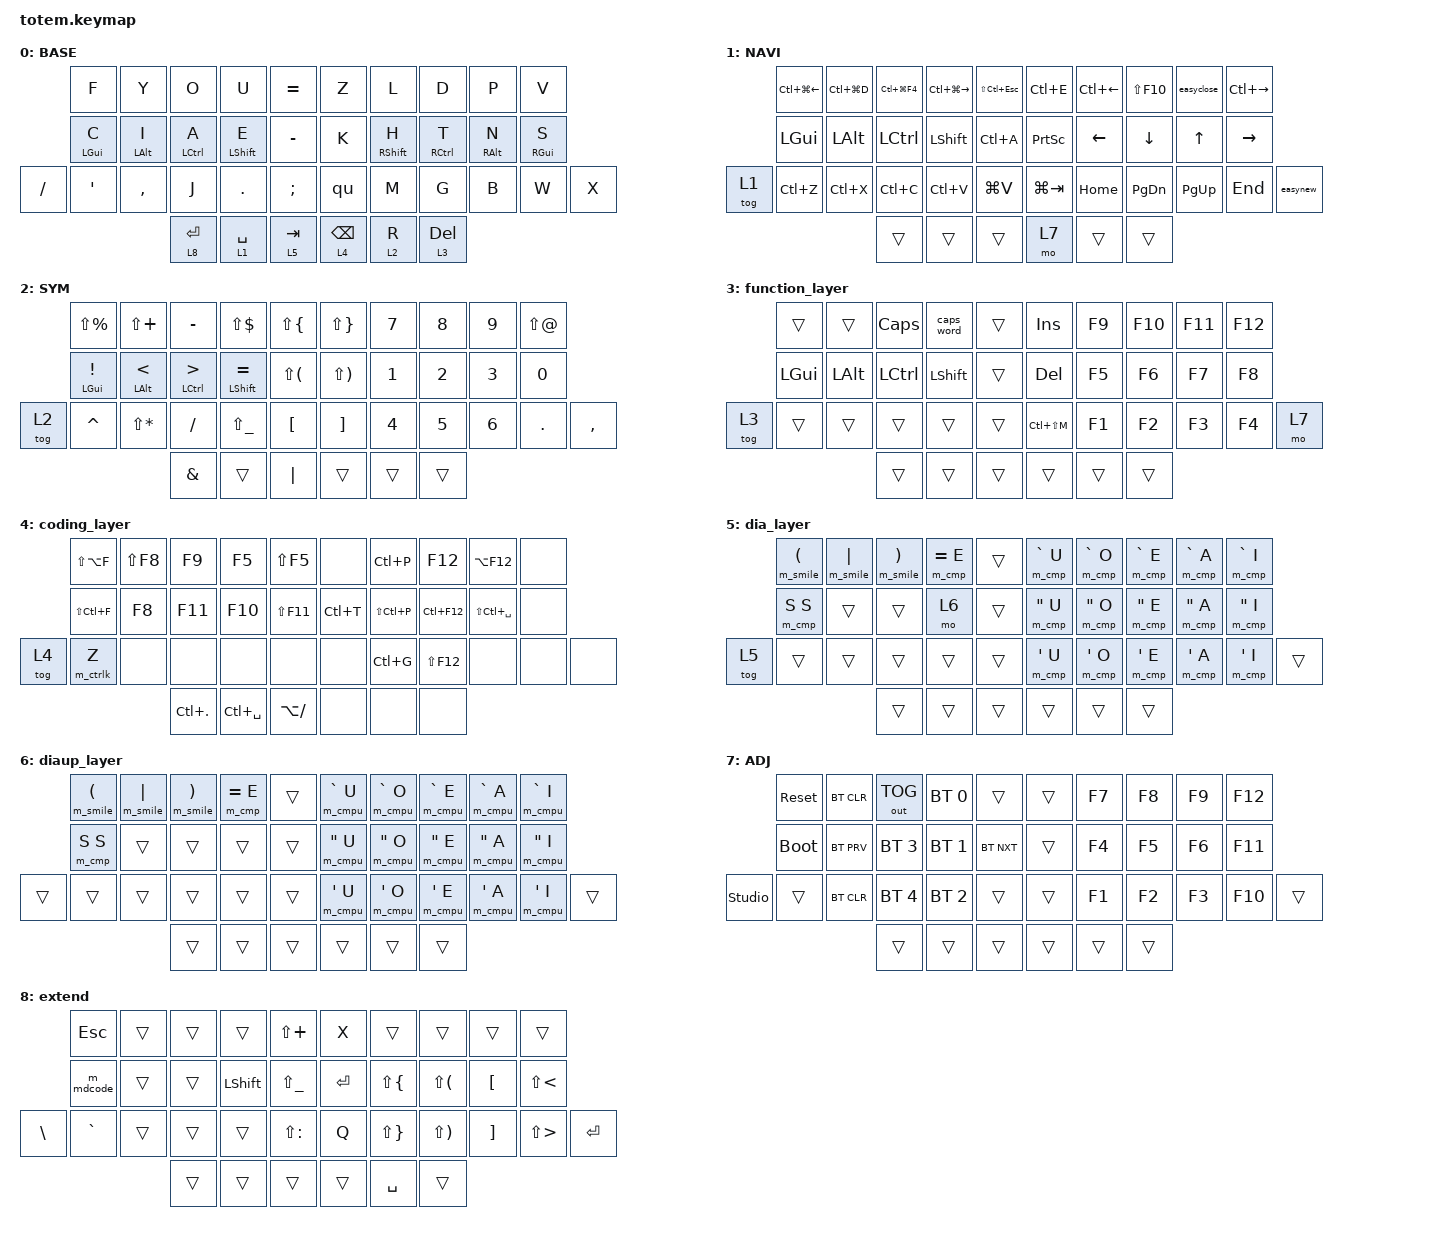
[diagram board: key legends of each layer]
//
//                                                        ▀▀▀▀▀     ▀▀▀▀▀          ▀▀█▀▀
//                                                        ▄▀▀▀▄  ▄  ▄▀▀▀▄  ▄  ▄▀▀▀▄  █  ▄▀▀▀▄
//                                                        █   █  █  █   █  █  █   █  █  █   █
//                                                         ▀▀▀   █   ▀▀▀   █   ▀▀▀   ▀   ▀▀▀
//                                                               █      ▄▄▄█▄▄▄    █   █  
//                                                               ▀      █  █  █     █▄█
//                                                             ▀▀▀▀▀    █  █  █      ▀
//                                                                      ▀  ▀  ▀
//
// ▄▄▄▄▄▄▄▄▄▄▄▄▄▄▄▄▄▄▄▄▄▄▄▄▄▄▄▄▄▄▄▄▄▄▄▄▄▄▄▄▄▄▄▄▄▄▄▄▄▄▄▄▄▄▄▄▄▄▄▄▄▄▄▄▄▄▄▄▄▄▄▄▄▄▄▄▄▄▄▄▄▄▄▄▄▄▄▄▄▄▄▄▄▄▄▄▄▄▄▄▄▄▄▄▄▄▄▄▄▄▄▄▄▄▄▄▄▄▄▄▄▄▄▄▄▄▄▄▄▄▄▄▄▄▄▄▄▄▄▄▄▄▄▄▄▄▄▄▄

#include <behaviors.dtsi>
#include <dt-bindings/zmk/bt.h>
#include <dt-bindings/zmk/keys.h>
#include <dt-bindings/zmk/outputs.h>

#define BASE 0
#define NAV  1
#define SYM  2
#define ADJ  3
#define TVP1 4
#define TVP2 5

&mt {
    quick-tap-ms = <100>;
    global-quick-tap;
    flavor = "tap-preferred";
    tapping-term-ms = <170>;
};

/ {
    combos {
        compatible = "zmk,combos";

        c_esc {
            timeout-ms = <50>;
            key-positions = <33 32>;
            bindings = <&kp ESC>;
        };

        c_caps {
            bindings = <&caps_word>;
            key-positions = <13 16>;
            layers = <0>;
        };

        c_2zero {
            bindings = <&m_2zero>;
            key-positions = <19 18>;
            layers = <2>;
        };

        c_3zero {
            bindings = <&zero3mod>;
            key-positions = <19 18 17>;
            layers = <2>;
        };

        c_lambda {
            bindings = <&m_lambda>;
            key-positions = <13 12>;
            layers = <2>;
        };

        c_lambdablk {
            bindings = <&m_lambdablk>;
            key-positions = <13 12 11>;
            layers = <2>;
        };

        c_quotes {
            bindings = <&kp DQT>;
            key-positions = <28 29>;
            layers = <0>;
        };

        c_exclaim {
            bindings = <&kp EXCL>;
            key-positions = <27 28>;
            layers = <0>;
        };

        c_question {
            bindings = <&kp QMARK>;
            key-positions = <24 23>;
            layers = <0>;
        };

        c_colon {
            bindings = <&kp COLON>;
            key-positions = <23 22>;
            layers = <0>;
        };

        c_fij {
            bindings = <&m_fij>;
            key-positions = <0 1>;
            layers = <0>;
        };

        c_jo {
            bindings = <&m_jo>;
            key-positions = <1 2>;
            layers = <0>;
        };

        c_jou {
            bindings = <&m_jou>;
            key-positions = <1 2 3>;
            layers = <0>;
            timeout-ms = <0>;
        };

        c_ja {
            bindings = <&m_ja>;
            key-positions = <23 12>;
            layers = <0>;
        };

        c_grave {
            bindings = <&kp GRAVE>;
            key-positions = <21 22>;
            layers = <0 2>;
        };

        c_bsl {
            bindings = <&kp BSLH>;
            key-positions = <20 10>;
            layers = <0 2>;
        };
    };

    macros {
        gif: gif {
            label = "giphy";
            compatible = "zmk,behavior-macro";
            #binding-cells = <0>;
            bindings =
                <&macro_press>,
                <&kp LSHFT>,
                <&macro_tap>,
                <&kp N2>,
                <&macro_release>,
                <&kp LSHFT>,
                <&macro_tap>,
                <&kp G &kp I &kp F>;
        };

        m_qu: m_qu {
            compatible = "zmk,behavior-macro";
            #binding-cells = <0>;
            bindings =
                <&kp Q>,
                <&macro_release>,
                <&kp LSHFT &kp RSHFT>,
                <&macro_tap>,
                <&kp U>;

            label = "M_QU";
            wait-ms = <1>;
            tap-ms = <1>;
        };

        m_cmp: m_cmp {
            compatible = "zmk,behavior-macro-two-param";
            #binding-cells = <2>;
            bindings = <&kp RALT &macro_param_1to1 &kp MACRO_PLACEHOLDER &macro_param_2to1 &kp MACRO_PLACEHOLDER>;
            label = "M_CMP";
            wait-ms = <1>;
            tap-ms = <1>;
        };

        m_cmpu: m_cmpu {
            compatible = "zmk,behavior-macro-two-param";
            #binding-cells = <2>;
            bindings =
                <&kp RALT &macro_param_1to1 &kp MACRO_PLACEHOLDER>,
                <&macro_press>,
                <&kp LSHFT>,
                <&macro_tap>,
                <&macro_param_2to1 &kp MACRO_PLACEHOLDER>,
                <&macro_release>,
                <&kp LSHFT>;

            label = "M_CMPU";
            wait-ms = <1>;
            tap-ms = <1>;
        };

        m_lambda: m_lambda {
            compatible = "zmk,behavior-macro";
            #binding-cells = <0>;
            bindings = <&kp SPACE &kp EQUAL &kp GT &kp SPACE>;
            label = "M_LAMBDA";
            wait-ms = <1>;
            tap-ms = <1>;
        };

        m_lambdablk: m_lambdablk {
            compatible = "zmk,behavior-macro";
            #binding-cells = <0>;
            bindings = <&m_lambda &kp LBRC &kp ENTER>;
            label = "M_LAMBDABLK";
            wait-ms = <1>;
            tap-ms = <1>;
        };

        m_ctrlk: m_ctrlk {
            compatible = "zmk,behavior-macro-one-param";
            #binding-cells = <1>;
            bindings = <&kp LC(K) &macro_param_1to1 &kp MACRO_PLACEHOLDER>;
            label = "M_CTRLK";
        };

        m_3zero: m_3zero {
            compatible = "zmk,behavior-macro";
            #binding-cells = <0>;
            bindings = <&kp N0 &kp N0 &kp N0>;
            label = "M_3ZERO";
            wait-ms = <1>;
            tap-ms = <1>;
        };

        m_u3zero: m_u3zero {
            compatible = "zmk,behavior-macro";
            #binding-cells = <0>;
            bindings = <&kp UNDERSCORE &kp N0 &kp N0 &kp N0>;
            label = "M_U3ZERO";
            wait-ms = <1>;
            tap-ms = <1>;
        };

        m_2zero: m_2zero {
            compatible = "zmk,behavior-macro";
            #binding-cells = <0>;
            bindings = <&kp N0 &kp N0>;
            label = "M_2ZERO";
            tap-ms = <1>;
            wait-ms = <1>;
        };

        m_smile: m_smile {
            compatible = "zmk,behavior-macro-one-param";
            #binding-cells = <1>;
            bindings = <&kp COLON &kp MINUS &macro_param_1to1 &kp MACRO_PLACEHOLDER>;
            label = "M_SMILE";
            wait-ms = <1>;
            tap-ms = <1>;
        };

        m_jo: m_jo {
            compatible = "zmk,behavior-macro";
            #binding-cells = <0>;
            bindings =
                <&kp J>,
                <&macro_release>,
                <&kp LSHFT &kp RSHFT>,
                <&macro_tap>,
                <&kp O>;

            label = "M_JO";
            wait-ms = <1>;
            tap-ms = <1>;
        };

        m_jou: m_jou {
            compatible = "zmk,behavior-macro";
            #binding-cells = <0>;
            bindings =
                <&kp J>,
                <&macro_release>,
                <&kp LSHFT &kp RSHFT>,
                <&macro_tap>,
                <&kp O &kp U>;

            label = "M_JOU";
            wait-ms = <1>;
            tap-ms = <1>;
        };

        m_fij: m_fij {
            compatible = "zmk,behavior-macro";
            #binding-cells = <0>;
            bindings =
                <&kp F>,
                <&macro_release>,
                <&kp LSHFT &kp RSHFT>,
                <&macro_tap>,
                <&kp I &kp J>;

            label = "M_FIJ";
            wait-ms = <1>;
            tap-ms = <1>;
        };

        m_ja: m_ja {
            compatible = "zmk,behavior-macro";
            #binding-cells = <0>;
            bindings =
                <&kp J>,
                <&macro_release>,
                <&kp LSHFT &kp RSHFT>,
                <&macro_tap>,
                <&kp A>;

            label = "M_JA";
            wait-ms = <1>;
            tap-ms = <1>;
        };

        m_mdcode: m_mdcode {
            compatible = "zmk,behavior-macro";
            #binding-cells = <0>;
            bindings = <&kp GRAVE &kp GRAVE &kp GRAVE>;
            label = "M_MDCODE";
            tap-ms = <10>;
            wait-ms = <10>;
        };
    };

    behaviors {
        hml: hml {
            compatible = "zmk,behavior-hold-tap";
            label = "HML";
            bindings = <&kp>, <&kp>;

            #binding-cells = <2>;
            tapping-term-ms = <280>;
            require-prior-idle-ms = <150>;
            flavor = "balanced";
            hold-trigger-on-release;
            hold-trigger-key-positions = <35 36 37 5 15 26 5 6 7 8 9 15 16 17 18 19 26 27 28 29 30 31 35 36 37>;
        };

        hmr: hmr {
            compatible = "zmk,behavior-hold-tap";
            label = "HMR";
            bindings = <&kp>, <&kp>;

            #binding-cells = <2>;
            tapping-term-ms = <280>;
            require-prior-idle-ms = <150>;
            flavor = "balanced";
            hold-trigger-on-release;
            hold-trigger-key-positions = <0 1 2 3 4 10 11 12 13 14 20 21 22 23 24 25 32 33 34>;
        };

        qu: qu {
            compatible = "zmk,behavior-tap-dance";
            label = "QU";
            #binding-cells = <0>;
            bindings = <&m_qu>, <&kp Q>;
        };

        easyclose: easyclose {
            compatible = "zmk,behavior-mod-morph";
            label = "EASYCLOSE";
            bindings = <&kp LC(F4)>, <&kp F4>;

            #binding-cells = <0>;
            mods = <(MOD_LALT|MOD_RALT)>;
            keep-mods = <(MOD_LALT|MOD_RALT)>;
        };

        easynew: easynew {
            compatible = "zmk,behavior-mod-morph";
            label = "EASYNEW";
            bindings = <&kp LC(N)>, <&kp N>;

            #binding-cells = <0>;
            mods = <(MOD_LALT)>;
            keep-mods = <(MOD_LCTL|MOD_LALT)>;
        };

        zero3mod: zero3mod {
            compatible = "zmk,behavior-mod-morph";
            label = "ZERO3MOD";
            bindings = <&m_3zero>, <&m_u3zero>;

            #binding-cells = <0>;
            mods = <(MOD_LALT)>;
        };
    };

    keymap {
        compatible = "zmk,keymap";

        // ▄▄▄▄▄▄▄▄▄▄▄▄▄▄▄▄▄▄▄▄▄▄▄▄▄▄▄▄▄▄▄▄▄▄▄▄▄▄▄▄▄▄▄▄▄▄▄▄▄▄▄▄▄▄▄▄▄▄▄▄▄▄▄▄▄▄▄▄▄▄▄▄▄▄▄▄▄▄▄▄▄▄▄▄▄▄▄▄▄▄▄▄▄▄▄▄▄▄▄▄▄▄▄▄▄▄▄▄▄▄▄▄▄▄▄▄▄▄▄▄▄▄▄▄▄▄▄▄▄▄▄▄▄▄▄▄▄▄▄▄▄▄▄▄▄▄▄▄▄

        base_layer {
            // ┏━━━━━━━━━━━━━━━━━━━━━━━━━━━━━━━━━━━━━━━┓

            label = "BASE";

            // ┗━━━━━━━━━━━━━━━━━━━━━━━━━━━━━━━━━━━━━━━┛
            //             ┏━━━━━━━━━━━┳━━━━━━━━━━━┳━━━━━━━━━━━┳━━━━━━━━━━━┳━━━━━━━━━━━┓   ┏━━━━━━━━━━━┳━━━━━━━━━━━┳━━━━━━━━━━━┳━━━━━━━━━━━┳━━━━━━━━━━━┓
            //             ┃     Q     ┃     W     ┃     F     ┃     P     ┃     G     ┃   ┃     J     ┃     L     ┃     U     ┃     Y     ┃     ;     ┃
            //             ┣━━━━━━━━━━━╋━━━━━━━━━━━╋━━━━━━━━━━━╋━━━━━━━━━━━╋━━━━━━━━━━━┫   ┣━━━━━━━━━━━╋━━━━━━━━━━━╋━━━━━━━━━━━╋━━━━━━━━━━━╋━━━━━━━━━━━┫
            //             ┃     A     ┃     R     ┃     S     ┃     T     ┃     D     ┃   ┃     H     ┃     N     ┃     E     ┃     I     ┃     O     ┃
            // ┏━━━━━━━━━━━╋━━━━━━━━━━━╋━━━━━━━━━━━╋━━━━━━━━━━━╋━━━━━━━━━━━╋━━━━━━━━━━━┫   ┣━━━━━━━━━━━╋━━━━━━━━━━━╋━━━━━━━━━━━╋━━━━━━━━━━━╋━━━━━━━━━━━╋━━━━━━━━━━━┓
            // ┃     Q     ┃     Z     ┃     X     ┃     C     ┃     V     ┃     B     ┃   ┃     K     ┃     M     ┃     ,     ┃     .     ┃     /     ┃     \     ┃
            // ┗━━━━━━━━━━━┻━━━━━━━━━━━┻━━━━━━━━━━━╋━━━━━━━━━━━╋━━━━━━━━━━━╋━━━━━━━━━━━┫   ┣━━━━━━━━━━━╋━━━━━━━━━━━╋━━━━━━━━━━━╋━━━━━━━━━━━┻━━━━━━━━━━━┻━━━━━━━━━━━┛
            //                                     ┃    DEL    ┃    TAB    ┃    SPC    ┃   ┃   ENTER   ┃           ┃   BSPC    ┃
            //                                     ┗━━━━━━━━━━━┻━━━━━━━━━━━┻━━━━━━━━━━━┛   ┗━━━━━━━━━━━┻━━━━━━━━━━━┻━━━━━━━━━━━┛

            bindings = <
           &kp F        &kp Y        &kp O         &kp U         &kp EQUAL        &kp Z            &kp L         &kp D         &kp P        &kp V
           &hml LGUI C  &hml LALT I  &hml LCTRL A  &hml LSHFT E  &kp MINUS        &kp K            &hmr RSHFT H  &hmr RCTRL T  &hmr RALT N  &hmr RGUI S
&kp SLASH  &kp SQT      &kp COMMA    &kp J         &kp DOT       &kp SEMICOLON    &qu              &kp M         &kp G         &kp B        &kp W        &kp X
                                     &lt 8 ENTER   &lt 1 SPACE   &lt 5 TAB        &lt 4 BACKSPACE  &lt 2 R       &lt 3 DEL
            >;
        };

        nav_layer {
            // ┏━━━━━━━━━━━━━━━━━━━━━━━━━━━━━━━━━━━━━━━┓

            label = "NAVI";

            // ┗━━━━━━━━━━━━━━━━━━━━━━━━━━━━━━━━━━━━━━━┛
            //             ┏━━━━━━━━━━━┳━━━━━━━━━━━┳━━━━━━━━━━━┳━━━━━━━━━━━┳━━━━━━━━━━━┓   ┏━━━━━━━━━━━┳━━━━━━━━━━━┳━━━━━━━━━━━┳━━━━━━━━━━━┳━━━━━━━━━━━┓
            //             ┃           ┃           ┃     UP    ┃           ┃     {     ┃   ┃     }     ┃     7     ┃     8     ┃     9     ┃     +     ┃
            //             ┣━━━━━━━━━━━╋━━━━━━━━━━━╋━━━━━━━━━━━╋━━━━━━━━━━━╋━━━━━━━━━━━┫   ┣━━━━━━━━━━━╋━━━━━━━━━━━╋━━━━━━━━━━━╋━━━━━━━━━━━╋━━━━━━━━━━━┫
            //             ┃   SHIFT   ┃   LEFT    ┃    DOWN   ┃   RIGHT   ┃     [     ┃   ┃     ]     ┃     4     ┃     5     ┃     6     ┃     -     ┃
            // ┏━━━━━━━━━━━╋━━━━━━━━━━━╋━━━━━━━━━━━╋━━━━━━━━━━━╋━━━━━━━━━━━╋━━━━━━━━━━━┫   ┣━━━━━━━━━━━╋━━━━━━━━━━━╋━━━━━━━━━━━╋━━━━━━━━━━━╋━━━━━━━━━━━╋━━━━━━━━━━━┓
            // ┃           ┃           ┃   P UP    ┃  C LOCK   ┃  P DOWN   ┃     (     ┃   ┃     )     ┃     1     ┃     2     ┃     3     ┃     *     ┃           ┃
            // ┗━━━━━━━━━━━┻━━━━━━━━━━━┻━━━━━━━━━━━╋━━━━━━━━━━━╋━━━━━━━━━━━╋━━━━━━━━━━━┫   ┣━━━━━━━━━━━╋━━━━━━━━━━━╋━━━━━━━━━━━╋━━━━━━━━━━━┻━━━━━━━━━━━┻━━━━━━━━━━━┛
            //                                     ┃           ┃    TAB    ┃    SPC    ┃   ┃    DEL    ┃     0     ┃           ┃
            //                                     ┗━━━━━━━━━━━┻━━━━━━━━━━━┻━━━━━━━━━━━┛   ┗━━━━━━━━━━━┻━━━━━━━━━━━┻━━━━━━━━━━━┛

            bindings = <
        &kp LC(LG(LEFT))  &kp LC(LG(D))  &kp LC(LG(F4))  &kp LC(LG(RIGHT))  &kp LS(LC(ESC))    &kp LC(E)    &kp LC(LEFT)  &kp LS(F10)  &easyclose  &kp LC(RIGHT)
        &kp LGUI          &kp LALT       &kp LCTRL       &kp LSHFT          &kp LC(A)          &kp PSCRN    &kp LEFT      &kp DOWN     &kp UP      &kp RIGHT
&tog 1  &kp LC(Z)         &kp LC(X)      &kp LC(C)       &kp LC(V)          &kp LG(V)          &kp LG(TAB)  &kp HOME      &kp PG_DN    &kp PG_UP   &kp END        &easynew
                                         &trans          &trans             &trans             &mo 7        &trans        &trans
            >;
        };

        sym_layer {
            // ┏━━━━━━━━━━━━━━━━━━━━━━━━━━━━━━━━━━━━━━━┓

            label = "SYM";

            // ┗━━━━━━━━━━━━━━━━━━━━━━━━━━━━━━━━━━━━━━━┛
            //             ┏━━━━━━━━━━━┳━━━━━━━━━━━┳━━━━━━━━━━━┳━━━━━━━━━━━┳━━━━━━━━━━━┓   ┏━━━━━━━━━━━┳━━━━━━━━━━━┳━━━━━━━━━━━┳━━━━━━━━━━━┳━━━━━━━━━━━┓
            //             ┃     !     ┃     @     ┃     #     ┃     $     ┃     %     ┃   ┃     ˆ     ┃     &     ┃     Ü     ┃     '     ┃     "     ┃
            //             ┣━━━━━━━━━━━╋━━━━━━━━━━━╋━━━━━━━━━━━╋━━━━━━━━━━━╋━━━━━━━━━━━┫   ┣━━━━━━━━━━━╋━━━━━━━━━━━╋━━━━━━━━━━━╋━━━━━━━━━━━╋━━━━━━━━━━━┫
            //             ┃     Ä     ┃           ┃    SZ     ┃           ┃           ┃   ┃   MUTE    ┃   YEN     ┃   EURO    ┃  POUND    ┃     Ö     ┃
            // ┏━━━━━━━━━━━╋━━━━━━━━━━━╋━━━━━━━━━━━╋━━━━━━━━━━━╋━━━━━━━━━━━╋━━━━━━━━━━━┫   ┣━━━━━━━━━━━╋━━━━━━━━━━━╋━━━━━━━━━━━╋━━━━━━━━━━━╋━━━━━━━━━━━╋━━━━━━━━━━━┓
            // ┃           ┃  EMAIL1   ┃  EMAIL2   ┃           ┃           ┃           ┃   ┃   VOL-    ┃   VOL+    ┃   LAST    ┃   NEXT    ┃     \     ┃           ┃
            // ┗━━━━━━━━━━━┻━━━━━━━━━━━┻━━━━━━━━━━━╋━━━━━━━━━━━╋━━━━━━━━━━━╋━━━━━━━━━━━┫   ┣━━━━━━━━━━━╋━━━━━━━━━━━╋━━━━━━━━━━━╋━━━━━━━━━━━┻━━━━━━━━━━━┻━━━━━━━━━━━┛
            //                                     ┃           ┃    GIF    ┃    ADJ    ┃   ┃           ┃           ┃           ┃
            //                                     ┗━━━━━━━━━━━┻━━━━━━━━━━━┻━━━━━━━━━━━┛   ┗━━━━━━━━━━━┻━━━━━━━━━━━┻━━━━━━━━━━━┛

            bindings = <
        &kp LS(PRCNT)   &kp LS(PLUS)  &kp MINUS      &kp LS(DLLR)      &kp LS(LBRC)    &kp LS(RBRC)  &kp N7  &kp N8  &kp N9  &kp LS(AT)
        &hml LGUI EXCL  &hml LALT LT  &hml LCTRL GT  &hml LSHFT EQUAL  &kp LS(LPAR)    &kp LS(RPAR)  &kp N1  &kp N2  &kp N3  &kp N0
&tog 2  &kp CARET       &kp LS(STAR)  &kp FSLH       &kp LS(UNDER)     &kp LBKT        &kp RBKT      &kp N4  &kp N5  &kp N6  &kp DOT     &kp COMMA
                                      &kp AMPS       &trans            &kp PIPE        &trans        &trans  &trans
            >;
        };

        function_layer {
            bindings = <
        &trans    &trans    &kp CAPS   &caps_word  &trans    &kp INS        &kp F9  &kp F10  &kp F11  &kp F12
        &kp LGUI  &kp LALT  &kp LCTRL  &kp LSHFT   &trans    &kp DEL        &kp F5  &kp F6   &kp F7   &kp F8
&tog 3  &trans    &trans    &trans     &trans      &trans    &kp LC(LS(M))  &kp F1  &kp F2   &kp F3   &kp F4   &mo 7
                            &trans     &trans      &trans    &trans         &trans  &trans
            >;
        };

        coding_layer {
            bindings = <
        &kp LS(LA(F))  &kp LS(F8)  &kp F9       &kp F5         &kp LS(F5)      &none      &kp LC(P)      &kp F12      &kp LA(F12)        &none
        &kp LS(LC(F))  &kp F8      &kp F11      &kp F10        &kp LS(F11)     &kp LC(T)  &kp LS(LC(P))  &kp LC(F12)  &kp LS(LC(SPACE))  &none
&tog 4  &m_ctrlk Z     &none       &none        &none          &none           &none      &kp LC(G)      &kp LS(F12)  &none              &none  &none
                                   &kp LC(DOT)  &kp LC(SPACE)  &kp LA(FSLH)    &none      &none          &none
            >;
        };

        dia_layer {
            bindings = <
        &m_smile LPAR  &m_smile PIPE  &m_smile RPAR  &m_cmp EQUAL E  &trans    &m_cmp GRAVE U  &m_cmp GRAVE O  &m_cmp GRAVE E  &m_cmp GRAVE A  &m_cmp GRAVE I
        &m_cmp S S     &trans         &trans         &mo 6           &trans    &m_cmp DQT U    &m_cmp DQT O    &m_cmp DQT E    &m_cmp DQT A    &m_cmp DQT I
&tog 5  &trans         &trans         &trans         &trans          &trans    &m_cmp SQT U    &m_cmp SQT O    &m_cmp APOS E   &m_cmp SQT A    &m_cmp SQT I    &trans
                                      &trans         &trans          &trans    &trans          &trans          &trans
            >;
        };

        diaup_layer {
            bindings = <
        &m_smile LPAR  &m_smile PIPE  &m_smile RPAR  &m_cmp EQUAL E  &trans    &m_cmpu GRAVE U  &m_cmpu GRAVE O  &m_cmpu GRAVE E  &m_cmpu GRAVE A  &m_cmpu GRAVE I
        &m_cmp S S     &trans         &trans         &trans          &trans    &m_cmpu DQT U    &m_cmpu DQT O    &m_cmpu DQT E    &m_cmpu DQT A    &m_cmpu DQT I
&trans  &trans         &trans         &trans         &trans          &trans    &m_cmpu SQT U    &m_cmpu SQT O    &m_cmpu APOS E   &m_cmpu SQT A    &m_cmpu SQT I    &trans
                                      &trans         &trans          &trans    &trans           &trans           &trans
            >;
        };

        adjust_layer {
            // ┏━━━━━━━━━━━━━━━━━━━━━━━━━━━━━━━━━━━━━━━┓

            label = "ADJ";

            // ┗━━━━━━━━━━━━━━━━━━━━━━━━━━━━━━━━━━━━━━━┛
            //             ┏━━━━━━━━━━━┳━━━━━━━━━━━┳━━━━━━━━━━━┳━━━━━━━━━━━┳━━━━━━━━━━━┓   ┏━━━━━━━━━━━┳━━━━━━━━━━━┳━━━━━━━━━━━┳━━━━━━━━━━━┳━━━━━━━━━━━┓
            //             ┃   RESET   ┃ BT CLEAR  ┃  OUT TOG  ┃           ┃           ┃   ┃           ┃    F7     ┃    F8     ┃    F9     ┃    F12    ┃
            //             ┣━━━━━━━━━━━╋━━━━━━━━━━━╋━━━━━━━━━━━╋━━━━━━━━━━━╋━━━━━━━━━━━┫   ┣━━━━━━━━━━━╋━━━━━━━━━━━╋━━━━━━━━━━━╋━━━━━━━━━━━╋━━━━━━━━━━━┫
            //             ┃ BOOTLOAD  ┃ BT NEXT   ┃           ┃           ┃           ┃   ┃           ┃    F4     ┃    F5     ┃    F6     ┃    F11    ┃
            // ┏━━━━━━━━━━━╋━━━━━━━━━━━╋━━━━━━━━━━━╋━━━━━━━━━━━╋━━━━━━━━━━━╋━━━━━━━━━━━┫   ┣━━━━━━━━━━━╋━━━━━━━━━━━╋━━━━━━━━━━━╋━━━━━━━━━━━╋━━━━━━━━━━━╋━━━━━━━━━━━┓
            // ┃           ┃           ┃ BT PREV   ┃           ┃           ┃           ┃   ┃           ┃    F1     ┃    F2     ┃    F3     ┃    F10    ┃           ┃
            // ┗━━━━━━━━━━━┻━━━━━━━━━━━┻━━━━━━━━━━━╋━━━━━━━━━━━╋━━━━━━━━━━━╋━━━━━━━━━━━┫   ┣━━━━━━━━━━━╋━━━━━━━━━━━╋━━━━━━━━━━━╋━━━━━━━━━━━┻━━━━━━━━━━━┻━━━━━━━━━━━┛
            //                                     ┃           ┃           ┃           ┃   ┃           ┃           ┃           ┃
            //                                     ┗━━━━━━━━━━━┻━━━━━━━━━━━┻━━━━━━━━━━━┛   ┗━━━━━━━━━━━┻━━━━━━━━━━━┻━━━━━━━━━━━┛

            bindings = <
                &sys_reset   &bt BT_CLR  &out OUT_TOG  &bt BT_SEL 0  &trans        &trans  &kp F7  &kp F8  &kp F9  &kp F12
                &bootloader  &bt BT_PRV  &bt BT_SEL 3  &bt BT_SEL 1  &bt BT_NXT    &trans  &kp F4  &kp F5  &kp F6  &kp F11
&studio_unlock  &trans       &bt BT_CLR  &bt BT_SEL 4  &bt BT_SEL 2  &trans        &trans  &kp F1  &kp F2  &kp F3  &kp F10  &trans
                                         &trans        &trans        &trans        &trans  &trans  &trans
            >;
        };

        extend {
            bindings = <
          &kp ESC    &trans  &trans  &trans     &kp LS(PLUS)     &kp X      &trans        &trans        &trans    &trans
          &m_mdcode  &trans  &trans  &kp LSHFT  &kp LS(UNDER)    &kp ENTER  &kp LS(LBRC)  &kp LS(LPAR)  &kp LBKT  &kp LS(LT)
&kp BSLH  &kp GRAVE  &trans  &trans  &trans     &kp LS(COLON)    &kp Q      &kp LS(RBRC)  &kp LS(RPAR)  &kp RBKT  &kp LS(GT)  &kp RET
                             &trans  &trans     &trans           &trans     &kp SPACE     &trans
            >;
        };

        // ▄▄▄▄▄▄▄▄▄▄▄▄▄▄▄▄▄▄▄▄▄▄▄▄▄▄▄▄▄▄▄▄▄▄▄▄▄▄▄▄▄▄▄▄▄▄▄▄▄▄▄▄▄▄▄▄▄▄▄▄▄▄▄▄▄▄▄▄▄▄▄▄▄▄▄▄▄▄▄▄▄▄▄▄▄▄▄▄▄▄▄▄▄▄▄▄▄▄▄▄▄▄▄▄▄▄▄▄▄▄▄▄▄▄▄▄▄▄▄▄▄▄▄▄▄▄▄▄▄▄▄▄▄▄▄▄▄▄▄▄▄▄▄▄▄▄▄▄▄
        // ▄▄▄▄▄▄▄▄▄▄▄▄▄▄▄▄▄▄▄▄▄▄▄▄▄▄▄▄▄▄▄▄▄▄▄▄▄▄▄▄▄▄▄▄▄▄▄▄▄▄▄▄▄▄▄▄▄▄▄▄▄▄▄▄▄▄▄▄▄▄▄▄▄▄▄▄▄▄▄▄▄▄▄▄▄▄▄▄▄▄▄▄▄▄▄▄▄▄▄▄▄▄▄▄▄▄▄▄▄▄▄▄▄▄▄▄▄▄▄▄▄▄▄▄▄▄▄▄▄▄▄▄▄▄▄▄▄▄▄▄▄▄▄▄▄▄▄▄▄
    };
};
